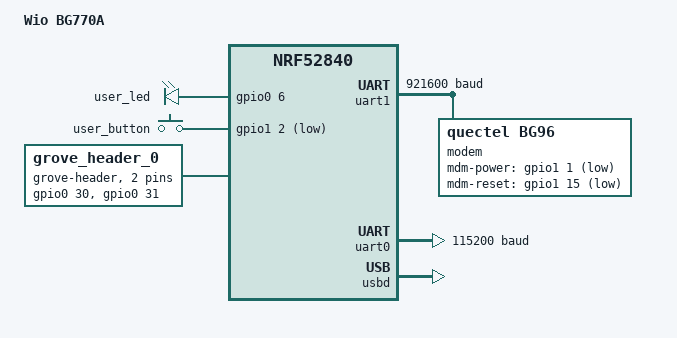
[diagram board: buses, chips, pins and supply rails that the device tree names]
/*
 * Copyright (c) Seeed K.K.
 * SPDX-License-Identifier: Apache-2.0
 */

/dts-v1/;
#include <nordic/nrf52840_qiaa.dtsi>
// RFT: partition dtsi is not in NCS sdk-zephyr; bundled alongside the board
// definition to avoid editing the upstream tree.
#include "nrf52840_partition_uf2_sdv7.dtsi"
#include "wio_bg770a-pinctrl.dtsi"

/ {
	model = "Wio BG770A";
	compatible = "seeed,wio-bg770a";

	aliases {
		led0 = &user_led;
		sw0 = &user_button;

		user-led = &user_led;
		user-button = &user_button;
	};

	leds {
		compatible = "gpio-leds";

		user_led: led0 {
			gpios = <&gpio0 6 GPIO_ACTIVE_HIGH>;
		};
	};

	buttons {
		compatible = "gpio-keys";

		user_button: button0 {
			gpios = <&gpio1 2 (GPIO_ACTIVE_LOW | GPIO_PULL_UP)>;
			zephyr,code = <INPUT_KEY_0>;
		};
	};
};

/ {
	grove_header_0: grove_header_0 {
		compatible = "grove-header";
		#gpio-cells = <2>;
		gpio-map-mask = <0xffffffff 0xffffff80>;
		gpio-map-pass-thru = <0 0x7f>;
		gpio-map = <0 0 &gpio0 30 0>,	/* D30 */
			   <1 0 &gpio0 31 0>;	/* D31 */
	};
};

&gpiote {
	status = "okay";
};

&gpio0 {
	status = "okay";
};

&gpio1 {
	status = "okay";
};

&uart1 {
	compatible = "nordic,nrf-uarte";
	status = "okay";
	/* 921600 with HW flow control: 8x the factory default, keeps headroom for
	 * batched MQTT publishes at higher tracker rates so the modem thread
	 * isn't blocked on UART when ESB busy-period steals CPU. The modem boots
	 * at 115200 from factory; firmware auto-detects and writes
	 * AT+IPR=921600;&W on first contact to make it stick. */
	current-speed = <921600>;
	hw-flow-control;
	pinctrl-0 = <&uart1_default>;
	pinctrl-1 = <&uart1_sleep>;
	pinctrl-names = "default", "sleep";

	modem: bg770a {
		compatible = "quectel,bg96";
		status = "okay";
		mdm-power-gpios = <&gpio1 1 (GPIO_ACTIVE_LOW | GPIO_OPEN_DRAIN)>;
		mdm-reset-gpios = <&gpio1 15 (GPIO_ACTIVE_LOW | GPIO_OPEN_DRAIN)>;
	};
};

grove_uart: &uart0 {
	compatible = "nordic,nrf-uarte";
	status = "okay";
	current-speed = <115200>;
	pinctrl-0 = <&uart0_default>;
	pinctrl-1 = <&uart0_sleep>;
	pinctrl-names = "default", "sleep";
};

zephyr_udc0: &usbd {
	compatible = "nordic,nrf-usbd";
	status = "okay";
};

#include <../boards/common/usb/cdc_acm_serial.dtsi>
